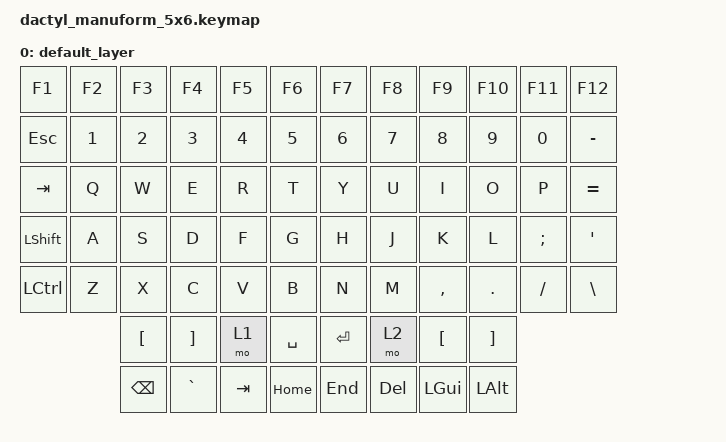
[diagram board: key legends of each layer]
#include <behaviors.dtsi>
#include <dt-bindings/zmk/keys.h>
#include <dt-bindings/zmk/bt.h>
#include <dt-bindings/zmk/outputs.h>

#define DEFAULT 0
#define LWR 1
#define RSE 2

/ {
    keymap {
        compatible = "zmk,keymap";

        default_layer {
            
bindings = <
&kp F1     &kp F2  &kp F3    &kp F4     &kp F5   &kp F6     &kp F7     &kp F8   &kp F9            &kp F10            &kp F11   &kp F12
&kp ESC    &kp N1  &kp N2    &kp N3     &kp N4   &kp N5     &kp N6     &kp N7   &kp N8            &kp N9             &kp N0    &kp MINUS
&kp TAB    &kp Q   &kp W     &kp E      &kp R    &kp T      &kp Y      &kp U    &kp I             &kp O              &kp P     &kp EQUAL
&kp LSHFT  &kp A   &kp S     &kp D      &kp F    &kp G      &kp H      &kp J    &kp K             &kp L              &kp SEMI  &kp APOS
&kp LCTRL  &kp Z   &kp X     &kp C      &kp V    &kp B      &kp N      &kp M    &kp COMMA         &kp DOT            &kp FSLH  &kp BSLH
                   &kp LBKT  &kp RBKT   &mo 1    &kp SPACE  &kp ENTER  &mo 2    &kp LEFT_BRACKET  &kp RIGHT_BRACKET
                   &kp BSPC  &kp GRAVE  &kp TAB  &kp HOME   &kp END    &kp DEL  &kp LGUI          &kp LALT
            >;
        };
    }
}


